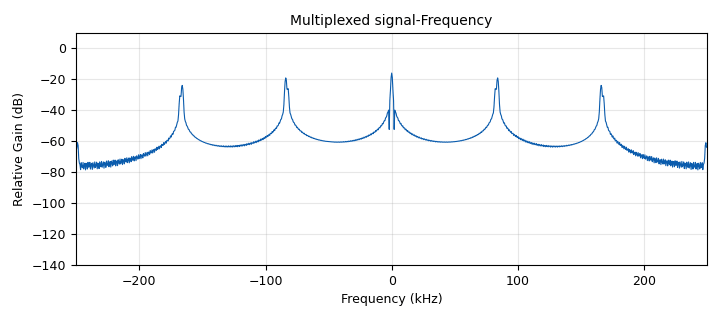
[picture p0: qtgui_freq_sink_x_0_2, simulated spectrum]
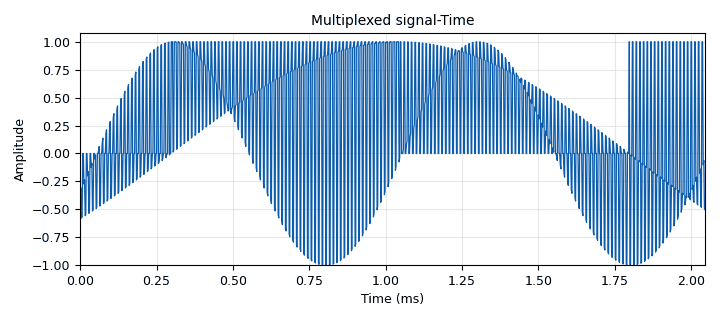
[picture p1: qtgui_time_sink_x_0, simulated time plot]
options:
  parameters:
    generate_options: qt_gui
    id: TDM
    output_language: python
    title: Not titled yet
  states: {}

blocks:
- name: samp_rate
  id: variable
  parameters:
    value: '500000'
  states: {}
- name: analog_sig_source_x_0
  id: analog_sig_source_x
  parameters:
    amp: '1'
    freq: '1000'
    offset: '0'
    phase: '0'
    samp_rate: samp_rate
    type: float
    waveform: analog.GR_COS_WAVE
  states: {}
- name: analog_sig_source_x_1
  id: analog_sig_source_x
  parameters:
    amp: '1'
    freq: '2000'
    offset: '0'
    phase: '0'
    samp_rate: samp_rate
    type: float
    waveform: analog.GR_SQR_WAVE
  states: {}
- name: analog_sig_source_x_2
  id: analog_sig_source_x
  parameters:
    amp: '1'
    freq: '3000'
    offset: '0'
    phase: '0'
    samp_rate: samp_rate
    type: float
    waveform: analog.GR_SIN_WAVE
  states: {}
- name: blocks_complex_to_float_0
  id: blocks_complex_to_float
  parameters: {}
  states: {}
- name: blocks_float_to_complex_0
  id: blocks_float_to_complex
  parameters: {}
  states: {}
- name: blocks_stream_demux_0
  id: blocks_stream_demux
  parameters:
    lengths: (2,2,2)
    num_outputs: '3'
    type: float
  states: {}
- name: blocks_stream_mux_0
  id: blocks_stream_mux
  parameters:
    lengths: (2, 2,2)
    num_inputs: '3'
    type: float
  states: {}
- name: iio_pluto_sink_0
  id: iio_pluto_sink
  parameters:
    attenuation1: '10.0'
    bandwidth: '20000000'
    buffer_size: '32768'
    cyclic: 'False'
    filter_source: '''Auto'''
    frequency: '2400000000'
    samplerate: samp_rate
    type: fc32
    uri: 192.168.2.1
  states: {}
- name: iio_pluto_source_0
  id: iio_pluto_source
  parameters:
    bandwidth: '20000000'
    bbdc: 'True'
    buffer_size: '32768'
    filter_source: '''Auto'''
    frequency: '2400000000'
    gain1: '''slow_attack'''
    quadrature: 'True'
    rfdc: 'True'
    samplerate: samp_rate
    type: fc32
    uri: 192.168.2.1
  states: {}
- name: qtgui_freq_sink_x_0_2
  id: qtgui_freq_sink_x
  parameters:
    bw: samp_rate
    ctrlpanel: 'True'
    fc: '0'
    fftsize: '1024'
    name: '"Multiplexed signal-Frequency"'
    type: float
  states: {}
- name: qtgui_time_sink_x_0
  id: qtgui_time_sink_x
  parameters:
    ctrlpanel: 'True'
    name: '"Multiplexed signal-Time"'
    size: '1024'
    srate: samp_rate
    type: float
  states: {}
- name: qtgui_time_sink_x_1_0
  id: qtgui_time_sink_x
  parameters:
    ctrlpanel: 'True'
    name: '"Demultiplexed signals"'
    nconnections: '3'
    size: '1024'
    srate: samp_rate
    type: float
  states: {}

connections:
- [analog_sig_source_x_0, '0', blocks_stream_mux_0, '0']
- [analog_sig_source_x_1, '0', blocks_stream_mux_0, '1']
- [analog_sig_source_x_2, '0', blocks_stream_mux_0, '2']
- [blocks_complex_to_float_0, '0', blocks_stream_demux_0, '0']
- [blocks_float_to_complex_0, '0', iio_pluto_sink_0, '0']
- [blocks_stream_demux_0, '0', qtgui_time_sink_x_1_0, '0']
- [blocks_stream_demux_0, '1', qtgui_time_sink_x_1_0, '1']
- [blocks_stream_demux_0, '2', qtgui_time_sink_x_1_0, '2']
- [blocks_stream_mux_0, '0', blocks_float_to_complex_0, '0']
- [blocks_stream_mux_0, '0', qtgui_freq_sink_x_0_2, '0']
- [blocks_stream_mux_0, '0', qtgui_time_sink_x_0, '0']
- [iio_pluto_source_0, '0', blocks_complex_to_float_0, '0']

metadata:
  file_format: 1
  grc_version: 3.10.9.2
